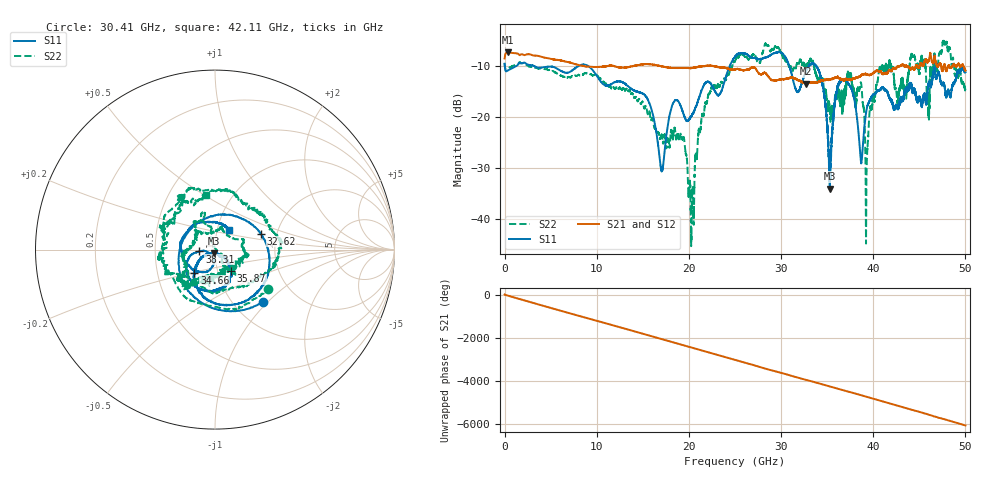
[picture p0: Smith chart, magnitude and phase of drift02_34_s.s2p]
!Created with skrf (http://scikit-rf.org).
# Hz S RI R 50.0
!freq ReS11 ImS11 ReS21 ImS21 ReS12 ImS12 ReS22 ImS22
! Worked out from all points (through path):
!   10001 points, 300 kHz to 50 GHz, reference 50 ohm
!   highest |S21| = -7.31 dB at 325.3 MHz (marker M1); lowest = -13.4 dB at 32.73 GHz (marker M2)
!   group delay of S21, straight-line fit = 335 ps
!   lowest |S11| = -34.0 dB at 35.29 GHz (marker M3), VSWR 1.04, Z = 49.6 - j1.94 ohm
!   |S11| at or under -10 dB: 3.234 GHz to 8.007 GHz (4.773 GHz wide, 84.9 % of centre); 9.104 GHz to 24.42 GHz (15.31 GHz wide, 91.4 % of centre); 33.83 GHz to end of sweep (the widest 3 of 7)
!   |S22| runs from -45.3 to -5.0 dB; largest |S21 - S12| = 0.015
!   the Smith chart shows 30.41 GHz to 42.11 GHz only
!   S11 on the Smith chart (normalised r, x): 30.41 GHz: 1.36, -0.94; 32.62 GHz: 1.65, +0.32; 34.66 GHz: 0.77, -0.20; 35.87 GHz: 1.16, -0.28; 38.31 GHz: 0.84, -0.02; 42.11 GHz: 1.14, +0.26
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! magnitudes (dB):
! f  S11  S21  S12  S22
! 300 kHz  -9.5  -8.5  -8.4  -9.4
! 325.3 MHz  -10.9  -7.3  -7.3  -10.6
! 8.335 GHz  -9.7  -9.9  -9.9  -11.6
! 16.67 GHz  -25.6  -9.9  -9.9  -23.0
! 19.31 GHz  -18.8  -10.4  -10.4  -24.4
! 20.35 GHz  -19.5  -10.3  -10.3  -34.4
! 21.94 GHz  -13.1  -9.9  -10.0  -17.2
! 25 GHz  -8.1  -10.6  -10.7  -9.0
! 30.41 GHz  -8.1  -12.5  -12.5  -8.7
! 32.62 GHz  -11.4  -13.2  -13.3  -10.3
! 32.73 GHz  -10.9  -13.4  -13.5  -10.3
! 33.34 GHz  -9.6  -13.2  -13.2  -9.0
! 34.66 GHz  -15.3  -12.7  -12.7  -14.6
! 35.29 GHz  -34.0  -12.5  -12.6  -18.8
! 35.87 GHz  -16.5  -12.3  -12.3  -15.8
! 38.31 GHz  -21.2  -12.2  -12.1  -14.2
! 39.31 GHz  -18.2  -11.6  -11.6  -28.1
! 41.67 GHz  -15.9  -10.9  -11.1  -9.7
! 42.11 GHz  -17.3  -10.6  -10.6  -10.2
! 45.95 GHz  -14.2  -9.0  -9.1  -16.6
! 47.77 GHz  -14.4  -9.8  -9.7  -5.5
! 50 GHz  -11.1  -10.8  -10.8  -14.6
